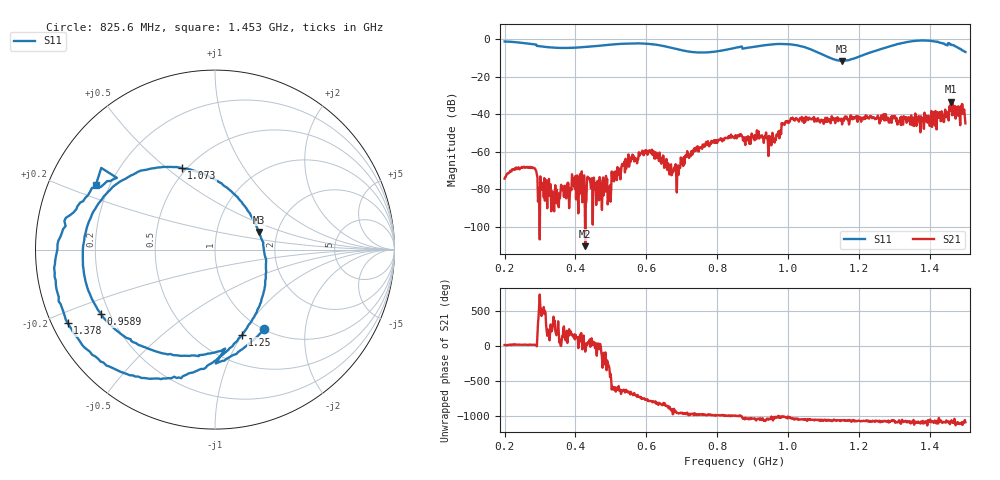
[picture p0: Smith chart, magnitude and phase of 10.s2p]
! NanoVNA-App
! Date: 2024-06-25 16:50:08
! Start: 200MHz Stop: 1.5GHz Points: 801
! S-Parameter data: F S11 S21 S12 S22
# Hz S RI R 50
!  Frequency  S11_Real  S11_Imag  S21_Real  S21_Imag  S12_Real  S12_Imag  S22_Real  S22_Imag
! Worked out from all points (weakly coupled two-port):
!   801 points, 200 MHz to 1.5 GHz, reference 50 ohm
!   highest |S21| = -33.24 dB at 1.459 GHz (marker M1); lowest = -110.2 dB at 427.5 MHz (marker M2)
!   lowest |S11| = -11.6 dB at 1.152 GHz (marker M3), VSWR 1.71, Z = 80 + j17 ohm
!   |S11| at or under -10 dB: 1.119 GHz to 1.191 GHz (72.67 MHz wide, 6.29 % of centre)
!   S12 and S22 are empty: the file has one direction only
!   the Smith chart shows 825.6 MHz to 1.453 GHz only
!   S11 on the Smith chart (normalised r, x): 825.6 MHz: 1.01, -1.22; 958.9 MHz: 0.17, -0.26; 1.073 GHz: 0.47, +0.56; 1.25 GHz: 0.80, -1.01; 1.378 GHz: 0.05, -0.23; 1.453 GHz: 0.15, +0.25
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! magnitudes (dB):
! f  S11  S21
! 200 MHz  -1.3  -74.2
! 271.5 MHz  -2.5  -68.0
! 300.8 MHz  -3.9  -73.1
! 417.8 MHz  -4.3  -70.4
! 427.5 MHz  -4.2  -110.2
! 494.1 MHz  -3.1  -80.4
! 585.1 MHz  -2.3  -61.0
! 633.9 MHz  -3.2  -62.4
! 679.4 MHz  -5.0  -68.2
! 825.6 MHz  -5.7  -52.7
! 850 MHz  -4.7  -52.3
! 958.9 MHz  -2.7  -54.4
! 988.1 MHz  -2.6  -45.2
! 1.068 GHz  -5.8  -42.8
! 1.073 GHz  -6.2  -41.5
! 1.152 GHz  -11.6  -45.4
! 1.25 GHz  -6.1  -42.3
! 1.284 GHz  -4.0  -44.4
! 1.378 GHz  -0.8  -42.2
! 1.453 GHz  -2.4  -43.3
! 1.459 GHz  -2.9  -33.2
! 1.5 GHz  -6.9  -44.8
